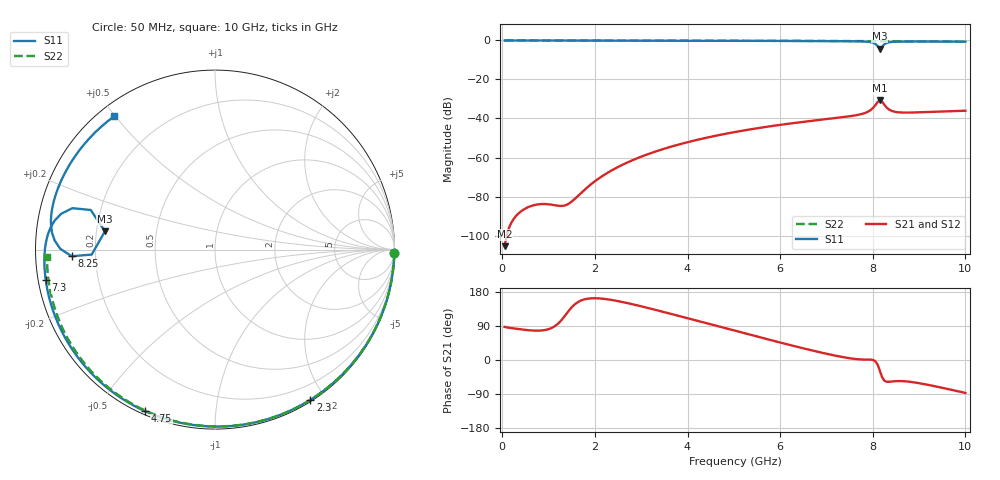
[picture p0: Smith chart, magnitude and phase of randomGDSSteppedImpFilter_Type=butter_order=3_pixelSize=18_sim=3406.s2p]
! freq	dB(S11)	phase(S11)	dB(S12)	phase(S12)
!  dB(S21)	phase(S21)	dB(S22)	phase(S22)
!S-par simulation data
#  GHz  S  DB  R 50
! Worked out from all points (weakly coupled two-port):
!   200 points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, 50 MHz to 10 GHz, reference 50 ohm
!   highest |S21| = -30.66 dB at 8.15 GHz (marker M1); lowest = -105.4 dB at 50 MHz (marker M2)
!   lowest |S11| = -4.1 dB at 8.15 GHz (marker M3), VSWR 4.29, Z = 11.7 + j3.89 ohm
!   |S11| at or under -10 dB: nowhere
!   |S22| runs from -0.6 to 0.0 dB; largest |S21 - S12| = 0
!   S11 on the Smith chart (normalised r, x): 50 MHz: 2, -92; 2.3 GHz: 0.02, -1.82; 4.75 GHz: 0.01, -0.66; 7.3 GHz: 0.02, -0.09; 8.25 GHz: 0.11, -0.02; 10 GHz: 0.04, +0.50
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0.05  -0.00 -1.2  -105.44 87.4  -105.44 87.4  -0.00 -1.0
0.8  -0.03 -20.5  -83.94 77.6  -83.94 77.6  -0.02 -16.6
1.6  -0.05 -40.6  -80.44 150.1  -80.44 150.1  -0.04 -32.9
1.75  -0.06 -44.3  -77.09 159.2  -77.09 159.2  -0.05 -35.9
2.3  -0.07 -57.6  -67.45 159.6  -67.45 159.6  -0.06 -46.8
2.8  -0.09 -69.5  -61.50 147.5  -61.50 147.5  -0.07 -56.5
3.4  -0.11 -83.4  -56.22 129.4  -56.22 129.4  -0.09 -67.8
4.75  -0.17 -113.4  -48.16 85.9  -48.16 85.9  -0.14 -92.0
5.05  -0.18 -119.9  -46.82 76.2  -46.82 76.2  -0.15 -97.1
5.9  -0.24 -138.2  -43.59 49.2  -43.59 49.2  -0.19 -111.4
6.7  -0.30 -155.8  -41.14 24.9  -41.14 24.9  -0.24 -124.4
7.3  -0.37 -169.8  -39.48 8.9  -39.48 8.9  -0.29 -134.0
7.9  -0.69 172.2  -36.47 1.1  -36.47 1.1  -0.34 -143.6
8.05  -1.64 163.8  -33.34 -2.8  -33.34 -2.8  -0.35 -145.9
8.1  -2.77 162.3  -31.70 -11.0  -31.70 -11.0  -0.36 -146.7
8.15  -4.13 170.6  -30.66 -27.3  -30.66 -27.3  -0.36 -147.5
8.2  -3.25 -177.7  -31.36 -45.0  -31.36 -45.0  -0.36 -148.3
8.25  -1.94 -177.4  -32.99 -54.5  -32.99 -54.5  -0.36 -149.1
8.35  -0.96 176.7  -35.38 -57.6  -35.38 -57.6  -0.37 -150.7
8.55  -0.61 168.2  -36.82 -55.5  -36.82 -55.5  -0.40 -153.9
9.05  -0.55 153.4  -36.79 -62.2  -36.79 -62.2  -0.45 -162.0
10  -0.62 127.0  -36.01 -86.9  -36.01 -86.9  -0.57 -177.6
